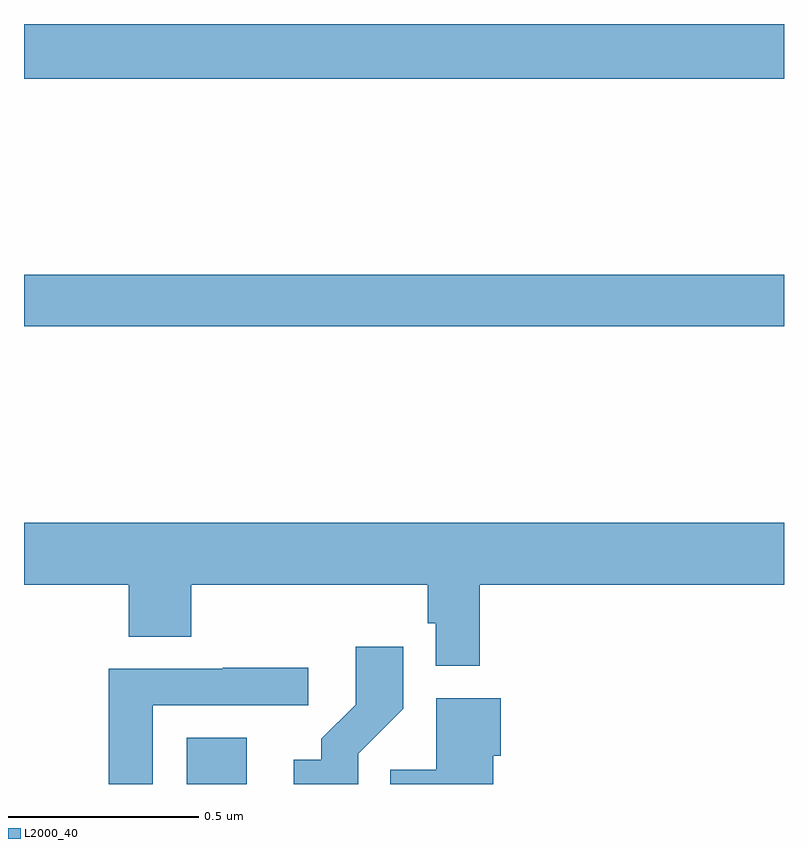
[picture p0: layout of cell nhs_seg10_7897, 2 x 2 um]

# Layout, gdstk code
import gdstk
lib = gdstk.Library(unit=1e-6, precision=1e-09)
def R(c, l, rs):  # rectangles x0, y0, x1, y1
    for r in rs: c.add(gdstk.rectangle(r[:2], r[2:], *l))
def P(c, l, *ps):  # polygons
    for p in ps: c.add(gdstk.Polygon(p, *l))
L2000_40 = (2000, 40)

nhs_seg10_7897 = lib.new_cell('nhs_seg10_7897')
R(nhs_seg10_7897, L2000_40, [(210.428,1258.5,210.586,1258.622), (210,1259.704,212,1259.84), (210,1260.356,212,1260.5)])
P(nhs_seg10_7897, L2000_40, [(211.199,1259.024),(212,1259.024),(212,1259.188),(210,1259.188),(210,1259.024),(210.275,1259.024),(210.275,1258.888),(210.44,1258.888),(210.44,1259.024),(211.063,1259.024),(211.063,1258.923),(211.083,1258.923),(211.083,1258.811),(211.199,1258.811)],
  [(210.879,1258.579),(210.998,1258.698),(210.998,1258.861),(210.873,1258.861),(210.873,1258.709),(210.782,1258.619),(210.782,1258.564),(210.71,1258.564),(210.71,1258.5),(210.879,1258.5)],
  [(210.339,1258.707),(210.748,1258.707),(210.748,1258.806),(210.523,1258.806),(210.523,1258.803),(210.223,1258.803),(210.223,1258.5),(210.339,1258.5)],
  [(211.235,1258.574),(211.255,1258.574),(211.255,1258.726),(211.085,1258.726),(211.085,1258.538),(210.964,1258.538),(210.964,1258.5),(211.235,1258.5)])

lib.write_gds('nhs_seg10_7897.gds')
